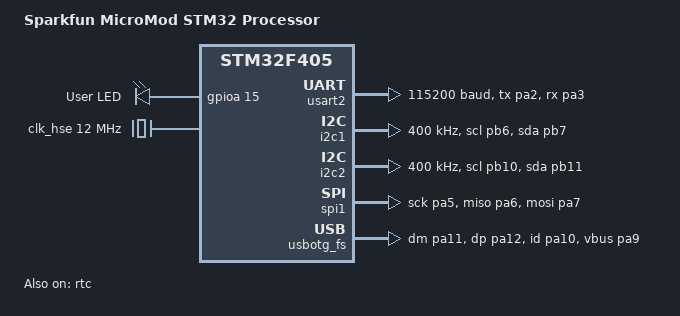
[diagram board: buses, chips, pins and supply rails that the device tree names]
/*
 * Copyright (c) 2022 Alvaro Viebrantz
 *
 * SPDX-License-Identifier: Apache-2.0
 */

/dts-v1/;
#include <st/f4/stm32f405Xg.dtsi>
#include <st/f4/stm32f405rgtx-pinctrl.dtsi>

/ {
	model = "Sparkfun MicroMod STM32 Processor";
	compatible = "st,sparkfun_micromod_stm32", "st,stm32f405";

	chosen {
		zephyr,console = &usart2;
		zephyr,shell-uart = &usart2;
		zephyr,sram = &sram0;
		zephyr,flash = &flash0;
		zephyr,ccm = &ccm0;
	};

	leds {
		compatible = "gpio-leds";
		led: led {
			gpios = <&gpioa 15 GPIO_ACTIVE_HIGH>;
			label = "User LED";
		};
	};

	aliases {
		led0 = &led;
	};
};

&clk_hse {
	clock-frequency = <DT_FREQ_M(12)>;
	status = "okay";
};

&pll {
	div-m = <12>;
	mul-n = <336>;
	div-p = <2>;
	div-q = <7>;
	clocks = <&clk_hse>;
	status = "okay";
};

&rcc {
	clocks = <&pll>;
	clock-frequency = <DT_FREQ_M(168)>;
	ahb-prescaler = <1>;
	apb1-prescaler = <4>;
	apb2-prescaler = <2>;
};

&usart2 {
	pinctrl-0 = <&usart2_tx_pa2 &usart2_rx_pa3>;
	pinctrl-names = "default";
	current-speed = <115200>;
	status = "okay";
};

&i2c1 {
	pinctrl-0 = <&i2c1_scl_pb6 &i2c1_sda_pb7>;
	pinctrl-names = "default";
	status = "okay";
	clock-frequency = <I2C_BITRATE_FAST>;
};

&i2c2 {
	pinctrl-0 = <&i2c2_scl_pb10 &i2c2_sda_pb11>;
	pinctrl-names = "default";
	status = "okay";
	clock-frequency = <I2C_BITRATE_FAST>;
};

&spi1 {
	pinctrl-0 = <&spi1_sck_pa5 &spi1_miso_pa6 &spi1_mosi_pa7>;
	pinctrl-names = "default";
	status = "okay";
};

&rtc {
	status = "okay";
};

zephyr_udc0: &usbotg_fs {
	pinctrl-0 = <&usb_otg_fs_dm_pa11 &usb_otg_fs_dp_pa12
		     &usb_otg_fs_id_pa10 &usb_otg_fs_vbus_pa9>;
	pinctrl-names = "default";
	status = "okay";
};
